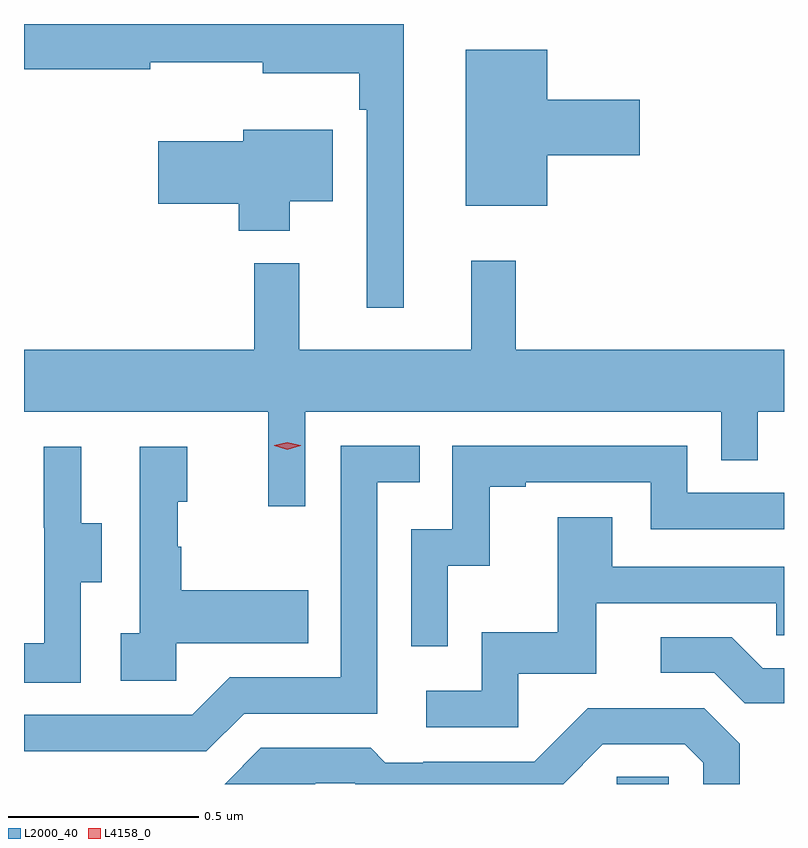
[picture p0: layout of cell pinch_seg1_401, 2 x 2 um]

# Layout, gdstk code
import gdstk
lib = gdstk.Library(unit=1e-6, precision=1e-09)
def R(c, l, rs):  # rectangles x0, y0, x1, y1
    for r in rs: c.add(gdstk.rectangle(r[:2], r[2:], *l))
def P(c, l, *ps):  # polygons
    for p in ps: c.add(gdstk.Polygon(p, *l))
L2000_40 = (2000, 40)
L4158_0 = (4158, 0)

pinch_seg1_401 = lib.new_cell('pinch_seg1_401')
R(pinch_seg1_401, L2000_40, [(991.513,528.109,991.65,528.128)])
P(pinch_seg1_401, L2000_40, [(990.952,530.109),(989.953,530.109),(989.953,529.99),(990.285,529.99),(990.285,530.009),(990.581,530.009),(990.581,529.979),(990.835,529.979),(990.835,529.883),(990.855,529.883),(990.855,529.362),(990.952,529.362)],
  [(991.33,529.763),(991.573,529.763),(991.573,529.91),(991.33,529.91),(991.33,530.041),(991.115,530.041),(991.115,529.631),(991.33,529.631)],
  [(990.652,529.643),(990.766,529.643),(990.766,529.831),(990.53,529.831),(990.53,529.801),(990.306,529.801),(990.306,529.636),(990.518,529.636),(990.518,529.565),(990.652,529.565)],
  [(990.693,529.088),(991.788,529.088),(991.788,528.961),(991.884,528.961),(991.884,529.088),(991.953,529.088),(991.953,529.252),(991.247,529.252),(991.247,529.486),(991.13,529.486),(991.13,529.252),(990.677,529.252),(990.677,529.48),(990.559,529.48),(990.559,529.252),(989.953,529.252),(989.953,529.088),(990.596,529.088),(990.596,528.84),(990.693,528.84)],
  [(991.068,528.683),(991.178,528.683),(991.178,528.891),(991.273,528.891),(991.273,528.903),(991.602,528.903),(991.602,528.78),(991.953,528.78),(991.953,528.876),(991.698,528.876),(991.698,528.999),(991.08,528.999),(991.08,528.78),(990.972,528.78),(990.972,528.471),(991.068,528.471)],
  [(990.532,528.294),(990.882,528.294),(990.882,528.903),(990.995,528.903),(990.995,528.999),(990.786,528.999),(990.786,528.39),(990.495,528.39),(990.396,528.291),(989.953,528.291),(989.953,528.195),(990.433,528.195)],
  [(990.102,528.64),(990.157,528.64),(990.157,528.795),(990.103,528.795),(990.103,528.997),(990.005,528.997),(990.005,528.783),(990.006,528.783),(990.006,528.479),(989.953,528.479),(989.953,528.376),(990.102,528.376)],
  [(990.354,528.479),(990.701,528.479),(990.701,528.619),(990.367,528.619),(990.367,528.734),(990.357,528.734),(990.357,528.852),(990.382,528.852),(990.382,528.997),(990.258,528.997),(990.258,528.506),(990.207,528.506),(990.207,528.381),(990.354,528.381)],
  [(991.254,528.399),(991.459,528.399),(991.459,528.585),(991.933,528.585),(991.933,528.501),(991.953,528.501),(991.953,528.681),(991.501,528.681),(991.501,528.811),(991.357,528.811),(991.357,528.508),(991.158,528.508),(991.158,528.354),(991.011,528.354),(991.011,528.258),(991.254,528.258)],
  [(991.953,528.414),(991.897,528.414),(991.816,528.495),(991.629,528.495),(991.629,528.402),(991.77,528.402),(991.85,528.322),(991.953,528.322)],
  [(990.72,528.111),(990.823,528.111),(990.825,528.109),(991.372,528.109),(991.476,528.213),(991.692,528.213),(991.74,528.165),(991.74,528.109),(991.837,528.109),(991.837,528.215),(991.743,528.309),(991.437,528.309),(991.296,528.168),(991.003,528.168),(991.003,528.165),(990.904,528.165),(990.865,528.204),(990.576,528.204),(990.481,528.109),(990.72,528.109)])
P(pinch_seg1_401, L4158_0, [(990.646,528.989),(990.611,528.999),(990.611,528.999),(990.611,529),(990.646,529.009),(990.681,529),(990.681,528.999),(990.681,528.999)])

lib.write_gds('pinch_seg1_401.gds')
